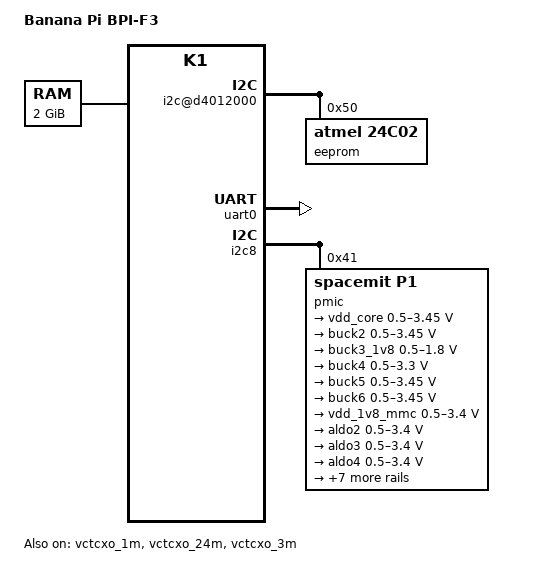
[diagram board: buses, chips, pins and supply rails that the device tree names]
// SPDX-License-Identifier: GPL-2.0-or-later OR MIT
/*
 * Copyright (C) 2024 Yangyu Chen <cyy@cyyself.name>
 */

#include "k1.dtsi"
#include "binman.dtsi"
#include "k1-pinctrl.dtsi"

/ {
	model = "Banana Pi BPI-F3";
	compatible = "bananapi,bpi-f3", "spacemit,k1";

	chosen {
		stdout-path = "serial0";
	};

	memory@0 {
		device_type = "memory";
		reg = <0x00000000 0x00000000 0x00000000 0x80000000>;
	};
};

&vctcxo_1m {
	status = "okay";
};

&vctcxo_24m {
	status = "okay";
};

&vctcxo_3m {
	status = "okay";
};

&osc_32k {
	status = "okay";
};

&soc {
	system-controller@d4050000 {
		status = "okay";
	};
	clock-controller@d4090000 {
		status = "okay";
	};
	system-controller@d4282800 {
		status = "okay";
	};
	system-controller@d4015000 {
		clocks = <&osc_32k>, <&vctcxo_1m>, <&vctcxo_3m>,
			 <&vctcxo_24m>, <&syscon_mpmu CLK_PLL1_31P5>,
			 <&pll CLK_PLL1_D4>;
		clock-names = "osc", "vctcxo_1m", "vctcxo_3m",
			      "vctcxo_24m", "pll1_d78_31p5", "pll1_d4";
		status = "okay";
	};

	i2c@d4012000 {		/* i2c2 */
		status = "okay";
		eeprom: eeprom {
			compatible = "atmel,24c02";
			reg = <0x50>;
			status = "okay";
		};
	};

	reset-controller@d4050000 {
		status = "okay";
	};
};

&uart0 {
	status = "okay";
	pinctrl-names = "default";
	pinctrl-0 = <&uart0_2_cfg>;
};

&i2c8 {
	status = "okay";
	pmic@41 {
		compatible = "spacemit,p1";
		reg = <0x41>;
		status = "okay";

		regulators {
			buck1 {
				regulator-name = "vdd_core";
				regulator-min-microvolt = <500000>;
				regulator-max-microvolt = <3450000>;
				regulator-ramp-delay = <5000>;
				regulator-always-on;
			};

			buck2 {
				regulator-min-microvolt = <500000>;
				regulator-max-microvolt = <3450000>;
				regulator-ramp-delay = <5000>;
				regulator-always-on;
			};

			buck3_1v8: buck3 {
				regulator-name = "vdd_1v8";
				regulator-min-microvolt = <500000>;
				regulator-max-microvolt = <1800000>;
				regulator-ramp-delay = <5000>;
				regulator-always-on;
			};

			buck4 {
				regulator-min-microvolt = <500000>;
				regulator-max-microvolt = <3300000>;
				regulator-ramp-delay = <5000>;
				regulator-always-on;
			};

			buck5 {
				regulator-min-microvolt = <500000>;
				regulator-max-microvolt = <3450000>;
				regulator-ramp-delay = <5000>;
				regulator-always-on;
			};

			buck6 {
				regulator-min-microvolt = <500000>;
				regulator-max-microvolt = <3450000>;
				regulator-ramp-delay = <5000>;
				regulator-always-on;
			};

			aldo1 {
				regulator-name = "vdd_1v8_mmc";
				regulator-min-microvolt = <500000>;
				regulator-max-microvolt = <3400000>;
				regulator-boot-on;
			};

			aldo2 {
				regulator-min-microvolt = <500000>;
				regulator-max-microvolt = <3400000>;
			};

			aldo3 {
				regulator-min-microvolt = <500000>;
				regulator-max-microvolt = <3400000>;
			};

			aldo4 {
				regulator-min-microvolt = <500000>;
				regulator-max-microvolt = <3400000>;
			};

			dldo1 {
				regulator-min-microvolt = <500000>;
				regulator-max-microvolt = <3400000>;
			};

			dldo2 {
				regulator-min-microvolt = <500000>;
				regulator-max-microvolt = <3400000>;
			};

			dldo3 {
				regulator-min-microvolt = <500000>;
				regulator-max-microvolt = <3400000>;
			};

			dldo4 {
				regulator-min-microvolt = <500000>;
				regulator-max-microvolt = <3400000>;
			};

			dldo5 {
				regulator-min-microvolt = <500000>;
				regulator-max-microvolt = <3400000>;
			};

			dldo6 {
				regulator-min-microvolt = <500000>;
				regulator-max-microvolt = <3400000>;
			};

			dldo7 {
				regulator-min-microvolt = <500000>;
				regulator-max-microvolt = <3400000>;
			};
		};
	};
};
